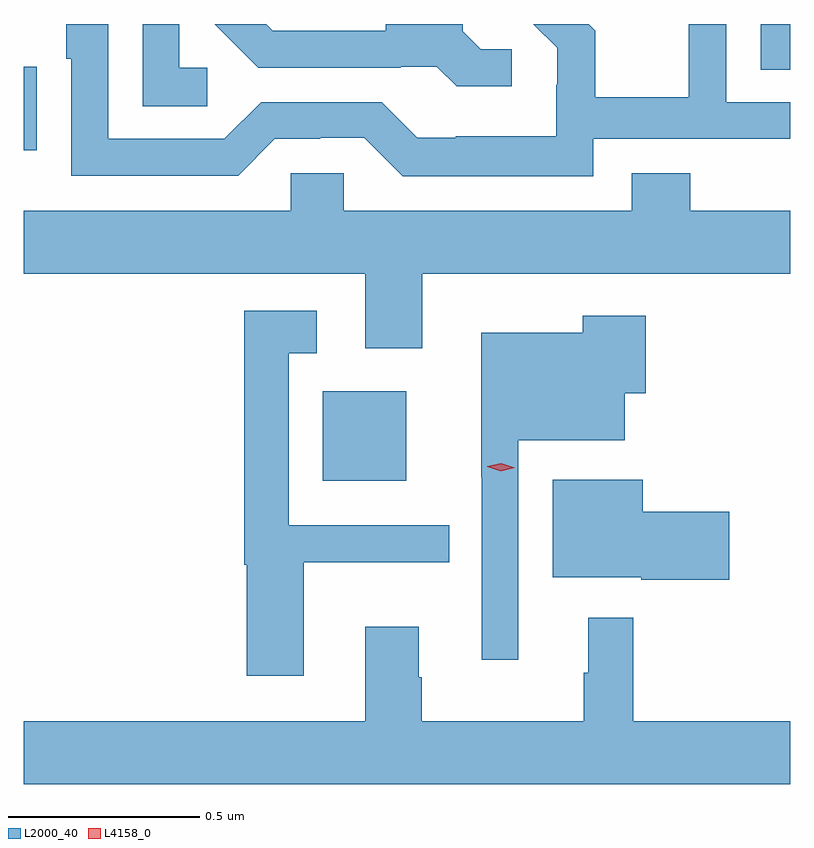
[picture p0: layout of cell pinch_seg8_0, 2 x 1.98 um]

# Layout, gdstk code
import gdstk
lib = gdstk.Library(unit=1e-6, precision=1e-09)
def R(c, l, rs):  # rectangles x0, y0, x1, y1
    for r in rs: c.add(gdstk.rectangle(r[:2], r[2:], *l))
def P(c, l, *ps):  # polygons
    for p in ps: c.add(gdstk.Polygon(p, *l))
L2000_40 = (2000, 40)
L4158_0 = (4158, 0)

pinch_seg8_0 = lib.new_cell('pinch_seg8_0')
R(pinch_seg8_0, L2000_40, [(869.06,1089.32,869.278,1089.553), (868.28,1090.182,868.313,1090.4), (870.203,1090.393,870.28,1090.512)])
P(pinch_seg8_0, L2000_40, [(868.759,1090.398),(868.686,1090.398),(868.686,1090.512),(868.59,1090.512),(868.59,1090.297),(868.759,1090.297)],
  [(869.766,1090.212),(870.28,1090.212),(870.28,1090.308),(870.114,1090.308),(870.114,1090.512),(870.016,1090.512),(870.016,1090.321),(869.771,1090.321),(869.771,1090.495),(869.754,1090.512),(869.61,1090.512),(869.672,1090.45),(869.672,1090.353),(869.67,1090.353),(869.67,1090.219),(869.407,1090.219),(869.407,1090.215),(869.307,1090.215),(869.214,1090.308),(868.899,1090.308),(868.803,1090.212),(868.5,1090.212),(868.5,1090.512),(868.391,1090.512),(868.391,1090.421),(868.404,1090.421),(868.404,1090.116),(868.839,1090.116),(868.935,1090.212),(869.054,1090.212),(869.054,1090.215),(869.169,1090.215),(869.269,1090.115),(869.766,1090.115)],
  [(869.554,1090.446),(869.472,1090.446),(869.425,1090.493),(869.425,1090.512),(869.225,1090.512),(869.225,1090.494),(868.93,1090.494),(868.912,1090.512),(868.778,1090.512),(868.892,1090.398),(869.264,1090.398),(869.264,1090.401),(869.358,1090.401),(869.41,1090.349),(869.554,1090.349)],
  [(869.32,1089.86),(870.28,1089.86),(870.28,1090.024),(870.02,1090.024),(870.02,1090.123),(869.867,1090.123),(869.867,1090.024),(869.115,1090.024),(869.115,1090.122),(868.977,1090.122),(868.977,1090.024),(868.28,1090.024),(868.28,1089.86),(869.171,1089.86),(869.171,1089.666),(869.32,1089.666)],
  [(869.011,1089.107),(869.39,1089.107),(869.39,1089.204),(868.971,1089.204),(868.971,1089.653),(869.044,1089.653),(869.044,1089.763),(868.855,1089.763),(868.855,1089.101),(868.862,1089.101),(868.862,1088.811),(869.011,1088.811)],
  [(869.571,1089.425),(869.848,1089.425),(869.848,1089.548),(869.903,1089.548),(869.903,1089.751),(869.739,1089.751),(869.739,1089.706),(869.474,1089.706),(869.474,1089.329),(869.475,1089.329),(869.475,1088.853),(869.571,1088.853)],
  [(870.121,1089.239),(869.896,1089.239),(869.896,1089.322),(869.66,1089.322),(869.66,1089.068),(869.892,1089.068),(869.892,1089.061),(870.121,1089.061)],
  [(870.28,1088.692),(869.87,1088.692),(869.87,1088.962),(869.753,1088.962),(869.753,1088.819),(869.742,1088.819),(869.742,1088.692),(869.319,1088.692),(869.319,1088.807),(869.311,1088.807),(869.311,1088.938),(869.171,1088.938),(869.171,1088.692),(868.28,1088.692),(868.28,1088.528),(870.28,1088.528)])
P(pinch_seg8_0, L4158_0, [(869.525,1089.345),(869.489,1089.356),(869.489,1089.357),(869.489,1089.357),(869.526,1089.365),(869.561,1089.354),(869.561,1089.353),(869.561,1089.353)])

lib.write_gds('pinch_seg8_0.gds')
